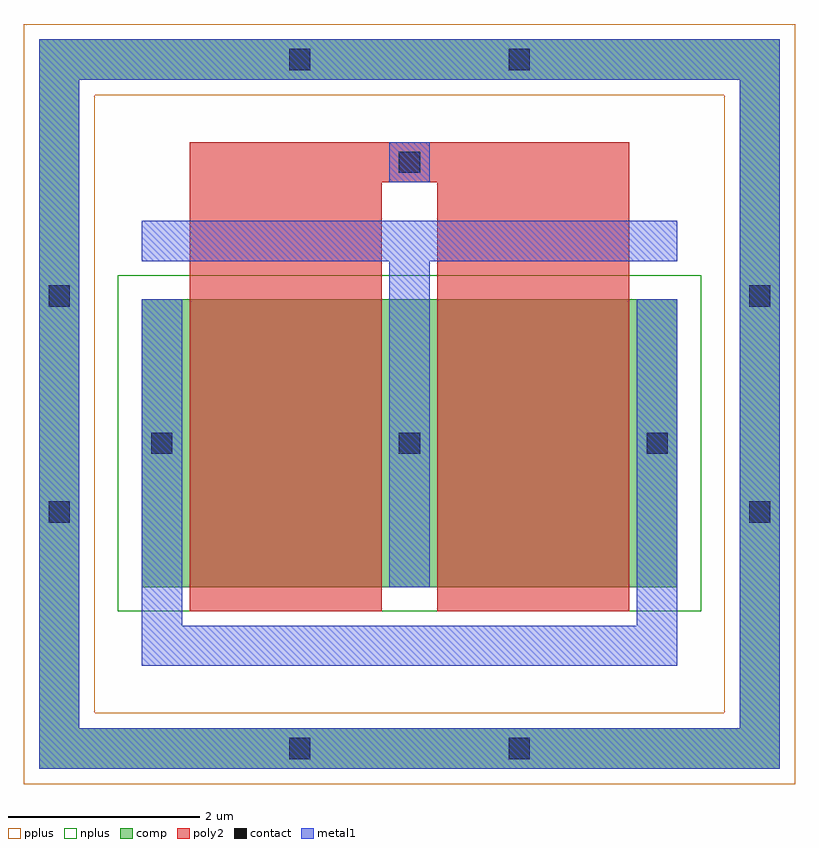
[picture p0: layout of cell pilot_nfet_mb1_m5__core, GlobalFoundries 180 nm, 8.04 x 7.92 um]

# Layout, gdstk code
import gdstk
lib = gdstk.Library(unit=1e-6, precision=1e-09)
def R(c, l, rs):  # rectangles x0, y0, x1, y1
    for r in rs: c.add(gdstk.rectangle(r[:2], r[2:], *l))
def A(c, l, x, y, w, h, nx, ny, dx, dy):  # array of equal rectangles
    R(c, l, [(x+i*dx, y+j*dy, x+i*dx+w, y+j*dy+h) for i in range(nx) for j in range(ny)])
def P(c, l, *ps):  # polygons
    for p in ps: c.add(gdstk.Polygon(p, *l))
comp = (22, 0)
poly2 = (30, 0)
pplus = (31, 0)
nplus = (32, 0)
contact = (33, 0)
metal1 = (34, 0)

pilot_nfet_mb1_m5__core = lib.new_cell('pilot_nfet_mb1_m5__core')
R(pilot_nfet_mb1_m5__core, comp, [(0,0.82,5.58,3.82)])
P(pilot_nfet_mb1_m5__core, comp, [(-1.07,-1.07),(-1.07,6.11),(-0.65,6.11),(-0.65,-0.65),(6.23,-0.65),(6.23,6.11),(-1.07,6.11),(-1.07,6.53),(6.65,6.53),(6.65,-1.07)])
R(pilot_nfet_mb1_m5__core, poly2, [(0.5,0.57,2.5,5.04), (3.08,0.57,5.08,5.04), (0.5,5.04,5.08,5.46)])
P(pilot_nfet_mb1_m5__core, pplus, [(-1.23,-1.23),(-1.23,5.95),(-0.49,5.95),(-0.49,-0.49),(6.07,-0.49),(6.07,5.95),(-1.23,5.95),(-1.23,6.69),(6.81,6.69),(6.81,-1.23)])
R(pilot_nfet_mb1_m5__core, nplus, [(-0.25,0.57,5.83,4.07)])
A(pilot_nfet_mb1_m5__core, contact, 0.1, 2.21, 0.22, 0.22, 3, 1, 2.58, 0)
R(pilot_nfet_mb1_m5__core, contact, [(1.535,-0.97,1.755,-0.75), (3.825,-0.97,4.045,-0.75), (-0.97,1.495,-0.75,1.715), (6.33,1.495,6.55,1.715), (-0.97,3.745,-0.75,3.965), (6.33,3.745,6.55,3.965), (2.68,5.14,2.9,5.36), (1.535,6.21,1.755,6.43), (3.825,6.21,4.045,6.43)])
A(pilot_nfet_mb1_m5__core, metal1, 0, 0.82, 0.42, 3, 3, 1, 2.58, 0)
R(pilot_nfet_mb1_m5__core, metal1, [(0,0,5.58,0.42), (0,0.42,0.42,0.82), (5.16,0.42,5.58,0.82), (2.58,3.82,3,4.22), (0,4.22,5.58,4.64), (2.58,5.04,3,5.46)])
P(pilot_nfet_mb1_m5__core, metal1, [(-1.07,-1.07),(-1.07,6.11),(-0.65,6.11),(-0.65,-0.65),(6.23,-0.65),(6.23,6.11),(-1.07,6.11),(-1.07,6.53),(6.65,6.53),(6.65,-1.07)])

lib.write_gds('pilot_nfet_mb1_m5__core.gds')
